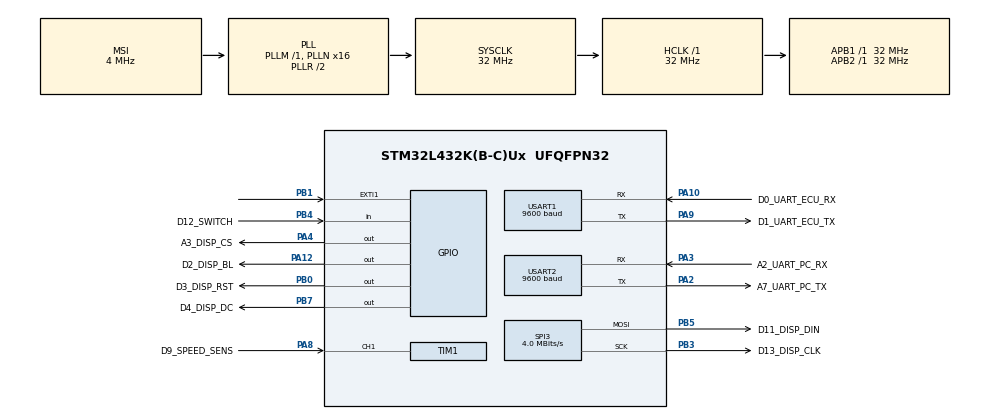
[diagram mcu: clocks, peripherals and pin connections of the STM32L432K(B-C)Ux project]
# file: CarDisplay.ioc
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Mcu.Family=STM32L4
Mcu.Name=STM32L432K(B-C)Ux
Mcu.Package=UFQFPN32
NVIC.PriorityGroup=NVIC_PRIORITYGROUP_4
PA0.GPIO_Label=MCO [High speed clock in]
PA0.Mode=HSE-External-Clock-Source-for-LittleOrca
PA0.Signal=RCC_CK_IN
PA10.GPIO_Label=D0_UART_ECU_RX
PA10.Mode=Asynchronous
PA10.Signal=USART1_RX
PA12.GPIO_Label=D2_DISP_BL
PA12.Signal=GPIO_Output
PA13\ (JTMS-SWDIO).GPIO_Label=SWDIO
PA13\ (JTMS-SWDIO).Mode=Serial_Wire
PA13\ (JTMS-SWDIO).Signal=SYS_JTMS-SWDIO
PA14\ (JTCK-SWCLK).GPIO_Label=SWCLK
PA14\ (JTCK-SWCLK).Mode=Serial_Wire
PA14\ (JTCK-SWCLK).Signal=SYS_JTCK-SWCLK
PA2.GPIO_Label=A7_UART_PC_TX
PA2.Mode=Asynchronous
PA2.Signal=USART2_TX
PA3.GPIO_Label=A2_UART_PC_RX
PA3.Mode=Asynchronous
PA3.Signal=USART2_RX
PA4.GPIO_Label=A3_DISP_CS
PA4.Signal=GPIO_Output
PA8.GPIO_Label=D9_SPEED_SENS
PA8.Signal=S_TIM1_CH1
PA9.GPIO_Label=D1_UART_ECU_TX
PA9.Mode=Asynchronous
PA9.Signal=USART1_TX
PB0.GPIO_Label=D3_DISP_RST
PB0.Signal=GPIO_Output
PB1.Signal=GPXTI1
PB3\ (JTDO-TRACESWO).GPIO_Label=D13_DISP_CLK
PB3\ (JTDO-TRACESWO).Mode=TX_Only_Simplex_Unidirect_Master
PB3\ (JTDO-TRACESWO).Signal=SPI3_SCK
PB4\ (NJTRST).GPIO_Label=D12_SWITCH
PB4\ (NJTRST).Signal=GPIO_Input
PB5.GPIO_Label=D11_DISP_DIN
PB5.Mode=TX_Only_Simplex_Unidirect_Master
PB5.Signal=SPI3_MOSI
PB7.GPIO_Label=D4_DISP_DC
PB7.Signal=GPIO_Output
PC14-OSC32_IN\ (PC14).Mode=LSE-External-Oscillator
PC14-OSC32_IN\ (PC14).Signal=RCC_OSC32_IN
PC15-OSC32_OUT\ (PC15).Mode=LSE-External-Oscillator
PC15-OSC32_OUT\ (PC15).Signal=RCC_OSC32_OUT
ProjectManager.HeapSize=0x200
ProjectManager.StackSize=0x400
ProjectManager.TargetToolchain=STM32CubeIDE
RCC.AHBFreq_Value=32000000
RCC.APB1Freq_Value=32000000
RCC.APB1TimFreq_Value=32000000
RCC.APB2Freq_Value=32000000
RCC.APB2TimFreq_Value=32000000
RCC.CortexFreq_Value=32000000
RCC.HCLKFreq_Value=32000000
RCC.HSE_VALUE=8000000
RCC.HSI16_VALUE=16000000
RCC.HSI48_VALUE=48000000
RCC.HSI_VALUE=16000000
RCC.MSI_VALUE=4000000
RCC.PLLMUL=RCC_PLLMUL_4
RCC.PLLN=16
RCC.SYSCLKFreq_VALUE=32000000
RCC.SYSCLKSource=RCC_SYSCLKSOURCE_PLLCLK
RCC.VCOOutputFreq_Value=64000000
SH.S_TIM1_CH1.0=TIM1_CH1,Input_Capture1_from_TI1
SPI3.BaudRatePrescaler=SPI_BAUDRATEPRESCALER_8
SPI3.CLKPhase=SPI_PHASE_1EDGE
SPI3.CLKPolarity=SPI_POLARITY_LOW
SPI3.CalculateBaudRate=4.0 MBits/s
SPI3.DataSize=SPI_DATASIZE_8BIT
SPI3.Direction=SPI_DIRECTION_2LINES
SPI3.Mode=SPI_MODE_MASTER
SPI3.VirtualType=VM_MASTER
TIM1.Channel-Input_Capture1_from_TI1=TIM_CHANNEL_1
TIM1.ClockDivision=TIM_CLOCKDIVISION_DIV1
TIM1.Prescaler=16000
USART1.BaudRate=9600
USART1.VirtualMode-Asynchronous=VM_ASYNC
USART2.BaudRate=9600
USART2.VirtualMode-Asynchronous=VM_ASYNC
board=NUCLEO-L432KC

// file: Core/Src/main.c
/* USER CODE BEGIN Header */
/**
  ******************************************************************************
  * @file           : main.c
  * @brief          : Main program body
  ******************************************************************************
  * @attention
  *
  * <h2><center>&copy; Copyright (c) 2024 STMicroelectronics.
  * All rights reserved.</center></h2>
  *
  * This software component is licensed by ST under BSD 3-Clause license,
  * the "License"; You may not use this file except in compliance with the
  * License. You may obtain a copy of the License at:
  *                        opensource.org/licenses/BSD-3-Clause
  *
  ******************************************************************************
  */
/* USER CODE END Header */

#include "main.h"

/* USER CODE BEGIN Includes */
#include "disp_conf.h"
#include "disp_gui.h"
#include "image.h"
/* USER CODE END Includes */

SPI_HandleTypeDef hspi3;

TIM_HandleTypeDef htim1;

UART_HandleTypeDef huart1;
UART_HandleTypeDef huart2;

void SystemClock_Config(void);
static void MX_GPIO_Init(void);
static void MX_USART2_UART_Init(void);
static void MX_TIM1_Init(void);
static void MX_USART1_UART_Init(void);
static void MX_SPI3_Init(void);

/* USER CODE BEGIN 0 */
ecu ecuVal;
dev_state devState;
gearbox gearboxVal;

void logoScreenDisplay();
void paramScreenDisplay();
void gearboxScreenDisplay();
/* USER CODE END 0 */

int main(void)
{

  /* MCU Configuration--------------------------------------------------------*/

  /* Reset of all peripherals, Initializes the Flash interface and the Systick. */
  HAL_Init();

  /* Configure the system clock */
  SystemClock_Config();

  /* Initialize all configured peripherals */
  MX_GPIO_Init();
  MX_USART2_UART_Init();
  MX_TIM1_Init();
  MX_USART1_UART_Init();
  MX_SPI3_Init();
  /* USER CODE BEGIN 2 */

	DISP_Init(VERTICAL);
	DISP_NewImage(DISP_WIDTH, DISP_HEIGHT, 0, BLACK);
	logoScreenDisplay();

	// Waiting for pressing the switch
	while(HAL_GPIO_ReadPin(SWITCH_PIN));
	HAL_Delay(100);

	//paramScreenDisplay();
	gearboxScreenDisplay();

	ecuVal.IAT = 40;
	ecuVal.batt_v = 12.6;
	ecuVal.oil_bar = 3.5;
	ecuVal.oil_temp = 90;
	ecuVal.CLT = 90;
	ecuVal.lambda = 12.6;

	gearboxVal.actGear = 3;

	gearboxVal.gearRatio[0] = 1;
	gearboxVal.gearRatio[1] = 442;
	gearboxVal.gearRatio[2] = 230;
	gearboxVal.gearRatio[3] = 167;
	gearboxVal.gearRatio[4] = 119;
	gearboxVal.gearRatio[5] = 100;

	gearboxVal.revGear[1] = 5000;
	for(int i = 2; i <= 5 ; i++) {
		gearboxVal.revGear[i] = gearboxVal.revGear[i-1] * gearboxVal.gearRatio[i] / gearboxVal.gearRatio[i-1];
	}
  /* USER CODE END 2 */

  /* Infinite loop */
  while (1)
  {

    /* USER CODE BEGIN 3 */
	if(devState.screenNo == PARAM) {
		DISP_DrawNum(105, 15, (int32_t)ecuVal.CLT, &Font24, BRRED, BLACK);
		DISP_DrawNum(40, 70, (int32_t)ecuVal.oil_temp, &Font24, BRRED, BLACK);
		DISP_DrawNum(160, 70, (int32_t)ecuVal.oil_bar, &Font24, BRRED, BLACK);
		DISP_DrawNum(40, 130, (int32_t)ecuVal.batt_v, &Font24, BRRED, BLACK);
		DISP_DrawNum(160, 130, (int32_t)ecuVal.lambda, &Font24, BRRED, BLACK);
		DISP_DrawNum(105, 207, (int32_t)ecuVal.IAT, &Font24, BRRED, BLACK);
		ecuVal.oil_bar++;
		ecuVal.oil_temp++;
		ecuVal.batt_v++;
		ecuVal.lambda++;
		ecuVal.CLT++;
		ecuVal.IAT++;
	} else if (devState.screenNo == GEARBOX) {
		DISP_DrawNum(130, 90,  gearboxVal.revGear[1], &Font24, ((gearboxVal.actGear == 1) ? BRRED : BLACK), ((gearboxVal.actGear == 1) ? BLACK : BRRED));
		DISP_DrawNum(130, 115, gearboxVal.revGear[2], &Font24, ((gearboxVal.actGear == 2) ? BRRED : BLACK), ((gearboxVal.actGear == 2) ? BLACK : BRRED));
		DISP_DrawNum(130, 140, gearboxVal.revGear[3], &Font24, ((gearboxVal.actGear == 3) ? BRRED : BLACK), ((gearboxVal.actGear == 3) ? BLACK : BRRED));
		DISP_DrawNum(130, 165, gearboxVal.revGear[4], &Font24, ((gearboxVal.actGear == 4) ? BRRED : BLACK), ((gearboxVal.actGear == 4) ? BLACK : BRRED));
		DISP_DrawNum(130, 190, gearboxVal.revGear[5], &Font24, ((gearboxVal.actGear == 5) ? BRRED : BLACK), ((gearboxVal.actGear == 5) ? BLACK : BRRED));
	}

	HAL_UART_Transmit(&huart2, "d", 5, 100);
	HAL_UART_Transmit(&huart2, "\n", 1, 100);
	HAL_UART_Transmit(&huart1, "123aaa", 5, 100);
	HAL_Delay(1000);
  }
  /* USER CODE END 3 */
}

void SystemClock_Config(void)
{
  RCC_OscInitTypeDef RCC_OscInitStruct = {0};
  RCC_ClkInitTypeDef RCC_ClkInitStruct = {0};
  RCC_PeriphCLKInitTypeDef PeriphClkInit = {0};

  /** Configure LSE Drive Capability
  */
  HAL_PWR_EnableBkUpAccess();
  __HAL_RCC_LSEDRIVE_CONFIG(RCC_LSEDRIVE_LOW);
  /** Initializes the CPU, AHB and APB busses clocks
  */
  RCC_OscInitStruct.OscillatorType = RCC_OSCILLATORTYPE_LSE|RCC_OSCILLATORTYPE_MSI;
  RCC_OscInitStruct.LSEState = RCC_LSE_ON;
  RCC_OscInitStruct.MSIState = RCC_MSI_ON;
  RCC_OscInitStruct.MSICalibrationValue = 0;
  RCC_OscInitStruct.MSIClockRange = RCC_MSIRANGE_6;
  RCC_OscInitStruct.PLL.PLLState = RCC_PLL_ON;
  RCC_OscInitStruct.PLL.PLLSource = RCC_PLLSOURCE_MSI;
  RCC_OscInitStruct.PLL.PLLM = 1;
  RCC_OscInitStruct.PLL.PLLN = 16;
  RCC_OscInitStruct.PLL.PLLP = RCC_PLLP_DIV7;
  RCC_OscInitStruct.PLL.PLLQ = RCC_PLLQ_DIV2;
  RCC_OscInitStruct.PLL.PLLR = RCC_PLLR_DIV2;
  if (HAL_RCC_OscConfig(&RCC_OscInitStruct) != HAL_OK)
  {
    Error_Handler();
  }
  /** Initializes the CPU, AHB and APB busses clocks
  */
  RCC_ClkInitStruct.ClockType = RCC_CLOCKTYPE_HCLK|RCC_CLOCKTYPE_SYSCLK
                              |RCC_CLOCKTYPE_PCLK1|RCC_CLOCKTYPE_PCLK2;
  RCC_ClkInitStruct.SYSCLKSource = RCC_SYSCLKSOURCE_PLLCLK;
  RCC_ClkInitStruct.AHBCLKDivider = RCC_SYSCLK_DIV1;
  RCC_ClkInitStruct.APB1CLKDivider = RCC_HCLK_DIV1;
  RCC_ClkInitStruct.APB2CLKDivider = RCC_HCLK_DIV1;

  if (HAL_RCC_ClockConfig(&RCC_ClkInitStruct, FLASH_LATENCY_1) != HAL_OK)
  {
    Error_Handler();
  }
  PeriphClkInit.PeriphClockSelection = RCC_PERIPHCLK_USART1|RCC_PERIPHCLK_USART2;
  PeriphClkInit.Usart1ClockSelection = RCC_USART1CLKSOURCE_PCLK2;
  PeriphClkInit.Usart2ClockSelection = RCC_USART2CLKSOURCE_PCLK1;
  if (HAL_RCCEx_PeriphCLKConfig(&PeriphClkInit) != HAL_OK)
  {
    Error_Handler();
  }
  /** Configure the main internal regulator output voltage
  */
  if (HAL_PWREx_ControlVoltageScaling(PWR_REGULATOR_VOLTAGE_SCALE1) != HAL_OK)
  {
    Error_Handler();
  }
  /** Enable MSI Auto calibration
  */
  HAL_RCCEx_EnableMSIPLLMode();
}

static void MX_SPI3_Init(void)
{

  /* SPI3 parameter configuration*/
  hspi3.Instance = SPI3;
  hspi3.Init.Mode = SPI_MODE_MASTER;
  hspi3.Init.Direction = SPI_DIRECTION_2LINES;
  hspi3.Init.DataSize = SPI_DATASIZE_8BIT;
  hspi3.Init.CLKPolarity = SPI_POLARITY_LOW;
  hspi3.Init.CLKPhase = SPI_PHASE_1EDGE;
  hspi3.Init.NSS = SPI_NSS_SOFT;
  hspi3.Init.BaudRatePrescaler = SPI_BAUDRATEPRESCALER_8;
  hspi3.Init.FirstBit = SPI_FIRSTBIT_MSB;
  hspi3.Init.TIMode = SPI_TIMODE_DISABLE;
  hspi3.Init.CRCCalculation = SPI_CRCCALCULATION_DISABLE;
  hspi3.Init.CRCPolynomial = 7;
  hspi3.Init.CRCLength = SPI_CRC_LENGTH_DATASIZE;
  hspi3.Init.NSSPMode = SPI_NSS_PULSE_ENABLE;
  if (HAL_SPI_Init(&hspi3) != HAL_OK)
  {
    Error_Handler();
  }

}

static void MX_TIM1_Init(void)
{

  TIM_MasterConfigTypeDef sMasterConfig = {0};
  TIM_IC_InitTypeDef sConfigIC = {0};

  htim1.Instance = TIM1;
  htim1.Init.Prescaler = 16000;
  htim1.Init.CounterMode = TIM_COUNTERMODE_UP;
  htim1.Init.Period = 0;
  htim1.Init.ClockDivision = TIM_CLOCKDIVISION_DIV1;
  htim1.Init.RepetitionCounter = 0;
  htim1.Init.AutoReloadPreload = TIM_AUTORELOAD_PRELOAD_DISABLE;
  if (HAL_TIM_IC_Init(&htim1) != HAL_OK)
  {
    Error_Handler();
  }
  sMasterConfig.MasterOutputTrigger = TIM_TRGO_RESET;
  sMasterConfig.MasterOutputTrigger2 = TIM_TRGO2_RESET;
  sMasterConfig.MasterSlaveMode = TIM_MASTERSLAVEMODE_DISABLE;
  if (HAL_TIMEx_MasterConfigSynchronization(&htim1, &sMasterConfig) != HAL_OK)
  {
    Error_Handler();
  }
  sConfigIC.ICPolarity = TIM_INPUTCHANNELPOLARITY_RISING;
  sConfigIC.ICSelection = TIM_ICSELECTION_DIRECTTI;
  sConfigIC.ICPrescaler = TIM_ICPSC_DIV1;
  sConfigIC.ICFilter = 0;
  if (HAL_TIM_IC_ConfigChannel(&htim1, &sConfigIC, TIM_CHANNEL_1) != HAL_OK)
  {
    Error_Handler();
  }

}

static void MX_USART1_UART_Init(void)
{

  huart1.Instance = USART1;
  huart1.Init.BaudRate = 9600;
  huart1.Init.WordLength = UART_WORDLENGTH_8B;
  huart1.Init.StopBits = UART_STOPBITS_1;
  huart1.Init.Parity = UART_PARITY_NONE;
  huart1.Init.Mode = UART_MODE_TX_RX;
  huart1.Init.HwFlowCtl = UART_HWCONTROL_NONE;
  huart1.Init.OverSampling = UART_OVERSAMPLING_16;
  huart1.Init.OneBitSampling = UART_ONE_BIT_SAMPLE_DISABLE;
  huart1.AdvancedInit.AdvFeatureInit = UART_ADVFEATURE_NO_INIT;
  if (HAL_UART_Init(&huart1) != HAL_OK)
  {
    Error_Handler();
  }

}

static void MX_USART2_UART_Init(void)
{

  huart2.Instance = USART2;
  huart2.Init.BaudRate = 9600;
  huart2.Init.WordLength = UART_WORDLENGTH_8B;
  huart2.Init.StopBits = UART_STOPBITS_1;
  huart2.Init.Parity = UART_PARITY_NONE;
  huart2.Init.Mode = UART_MODE_TX_RX;
  huart2.Init.HwFlowCtl = UART_HWCONTROL_NONE;
  huart2.Init.OverSampling = UART_OVERSAMPLING_16;
  huart2.Init.OneBitSampling = UART_ONE_BIT_SAMPLE_DISABLE;
  huart2.AdvancedInit.AdvFeatureInit = UART_ADVFEATURE_NO_INIT;
  if (HAL_UART_Init(&huart2) != HAL_OK)
  {
    Error_Handler();
  }

}

static void MX_GPIO_Init(void)
{
  GPIO_InitTypeDef GPIO_InitStruct = {0};

  /* GPIO Ports Clock Enable */
  __HAL_RCC_GPIOC_CLK_ENABLE();
  __HAL_RCC_GPIOA_CLK_ENABLE();
  __HAL_RCC_GPIOB_CLK_ENABLE();

  /*Configure GPIO pin Output Level */
  HAL_GPIO_WritePin(GPIOA, A3_DISP_CS_Pin|D2_DISP_BL_Pin, GPIO_PIN_RESET);

  /*Configure GPIO pin Output Level */
  HAL_GPIO_WritePin(GPIOB, D3_DISP_RST_Pin|D4_DISP_DC_Pin, GPIO_PIN_RESET);

  /*Configure GPIO pins : A3_DISP_CS_Pin D2_DISP_BL_Pin */
  GPIO_InitStruct.Pin = A3_DISP_CS_Pin|D2_DISP_BL_Pin;
  GPIO_InitStruct.Mode = GPIO_MODE_OUTPUT_PP;
  GPIO_InitStruct.Pull = GPIO_NOPULL;
  GPIO_InitStruct.Speed = GPIO_SPEED_FREQ_LOW;
  HAL_GPIO_Init(GPIOA, &GPIO_InitStruct);

  /*Configure GPIO pins : D3_DISP_RST_Pin D4_DISP_DC_Pin */
  GPIO_InitStruct.Pin = D3_DISP_RST_Pin|D4_DISP_DC_Pin;
  GPIO_InitStruct.Mode = GPIO_MODE_OUTPUT_PP;
  GPIO_InitStruct.Pull = GPIO_NOPULL;
  GPIO_InitStruct.Speed = GPIO_SPEED_FREQ_LOW;
  HAL_GPIO_Init(GPIOB, &GPIO_InitStruct);

  /*Configure GPIO pin : PB1 */
  GPIO_InitStruct.Pin = GPIO_PIN_1;
  GPIO_InitStruct.Mode = GPIO_MODE_IT_RISING;
  GPIO_InitStruct.Pull = GPIO_NOPULL;
  HAL_GPIO_Init(GPIOB, &GPIO_InitStruct);

  /*Configure GPIO pin : D12_SWITCH_Pin */
  GPIO_InitStruct.Pin = D12_SWITCH_Pin;
  GPIO_InitStruct.Mode = GPIO_MODE_INPUT;
  GPIO_InitStruct.Pull = GPIO_NOPULL;
  HAL_GPIO_Init(D12_SWITCH_GPIO_Port, &GPIO_InitStruct);

}

/* USER CODE BEGIN 4 */
void logoScreenDisplay() {
	devState.screenNo = LOGO;
	DISP_Clear(BLACK);

	DISP_DrawImage(gImage_samurai_logo_q1, 30, 30, 90, 90);
	DISP_DrawImage(gImage_samurai_logo_q3, 30, 120, 90, 90);
	DISP_DrawImage(gImage_samurai_logo_q2, 120, 30, 90, 90);
	DISP_DrawImage(gImage_samurai_logo_q4, 120, 120, 90, 90);
}

void paramScreenDisplay() {
	devState.screenNo = PARAM;
	DISP_Clear(BLACK);

	DISP_DrawString(65, 40, "WATER oC", &Font20, BLACK, BRRED);
	DISP_DrawLine(20, 60, 220, 60, BRRED, DOT_PIXEL_2X2, LINE_STYLE_SOLID);
	DISP_DrawLine(120, 60, 120, 120, BRRED, DOT_PIXEL_2X2, LINE_STYLE_SOLID);
	DISP_DrawString(25, 100, "OIL oC", &Font20, BLACK, BRRED);
	DISP_DrawString(130, 100, "OIL bar", &Font20, BLACK, BRRED);
	DISP_DrawLine(5, 120, 235, 120, BRRED, DOT_PIXEL_2X2, LINE_STYLE_SOLID);
	DISP_DrawLine(120, 120, 120, 180, BRRED, DOT_PIXEL_2X2, LINE_STYLE_SOLID);
	DISP_DrawString(25, 160, "BATT V", &Font20, BLACK, BRRED);
	DISP_DrawString(130, 160, "LAMBDA", &Font20, BLACK, BRRED);
	DISP_DrawLine(20, 180, 220, 180, BRRED, DOT_PIXEL_2X2, LINE_STYLE_SOLID);
	DISP_DrawString(75, 182, "IAT oC", &Font20, BLACK, BRRED);
}

void gearboxScreenDisplay() {
	devState.screenNo = GEARBOX;
	DISP_Clear(BLACK);

	DISP_DrawString(55, 40, "SPEED km/h", &Font20, BLACK, BRRED);
	DISP_DrawLine(20, 60, 220, 60, BRRED, DOT_PIXEL_2X2, LINE_STYLE_SOLID);
	DISP_DrawLine(120, 60, 120, 220, BRRED, DOT_PIXEL_2X2, LINE_STYLE_SOLID);
	DISP_DrawString(40, 70, "GEAR", &Font20, BLACK, BRRED);
	DISP_DrawString(130, 70, "RPM", &Font20, BLACK, BRRED);
	DISP_DrawString(60, 90, "1", &Font20, BLACK, BRRED);
	DISP_DrawString(60, 115, "2", &Font20, BLACK, BRRED);
	DISP_DrawString(60, 140, "3", &Font20, BLACK, BRRED);
	DISP_DrawString(60, 165, "4", &Font20, BLACK, BRRED);
	DISP_DrawString(60, 190, "5", &Font20, BLACK, BRRED);
}

/* USER CODE END 4 */

void Error_Handler(void)
{
}

/************************ (C) COPYRIGHT STMicroelectronics *****END OF FILE****/
